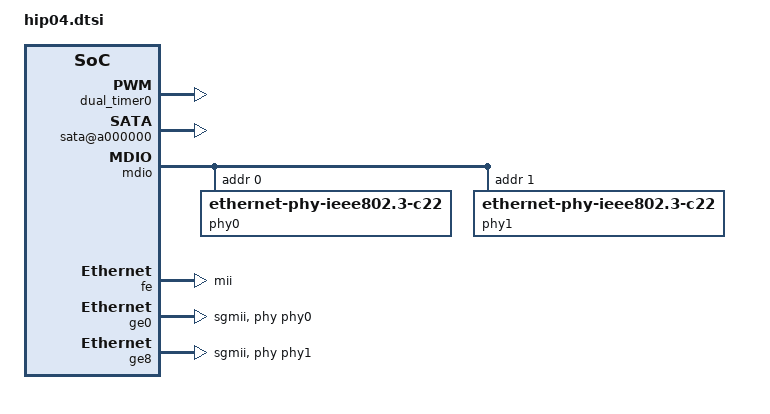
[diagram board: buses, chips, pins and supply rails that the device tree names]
/*
 * Hisilicon Ltd. HiP01 SoC
 *
 * Copyright (C) 2013-2014 Hisilicon Ltd.
 * Copyright (C) 2013-2014 Linaro Ltd.
 *
 * Author: Haojian Zhuang <haojian.zhuang@linaro.org>
 *
 * This program is free software; you can redistribute it and/or modify
 * it under the terms of the GNU General Public License version 2 as
 * publishhed by the Free Software Foundation.
 */

#include <dt-bindings/clock/hip04-clock.h>

/ {
	/* memory bus is 64-bit */
	#address-cells = <2>;
	#size-cells = <1>;

	aliases {
		serial0 = &uart0;
	};

	cpus {
		#address-cells = <1>;
		#size-cells = <0>;

		cpu-map {
			cluster0 {
				core0 {
					cpu = <&CPU0>;
				};
				core1 {
					cpu = <&CPU1>;
				};
				core2 {
					cpu = <&CPU2>;
				};
				core3 {
					cpu = <&CPU3>;
				};
			};
			cluster1 {
				core0 {
					cpu = <&CPU4>;
				};
				core1 {
					cpu = <&CPU5>;
				};
				core2 {
					cpu = <&CPU6>;
				};
				core3 {
					cpu = <&CPU7>;
				};
			};
			cluster2 {
				core0 {
					cpu = <&CPU8>;
				};
				core1 {
					cpu = <&CPU9>;
				};
				core2 {
					cpu = <&CPU10>;
				};
				core3 {
					cpu = <&CPU11>;
				};
			};
			cluster3 {
				core0 {
					cpu = <&CPU12>;
				};
				core1 {
					cpu = <&CPU13>;
				};
				core2 {
					cpu = <&CPU14>;
				};
				core3 {
					cpu = <&CPU15>;
				};
			};
		};
		CPU0: cpu@0 {
			device_type = "cpu";
			compatible = "arm,cortex-a15";
			reg = <0>;
		};
		CPU1: cpu@1 {
			device_type = "cpu";
			compatible = "arm,cortex-a15";
			reg = <1>;
		};
		CPU2: cpu@2 {
			device_type = "cpu";
			compatible = "arm,cortex-a15";
			reg = <2>;
		};
		CPU3: cpu@3 {
			device_type = "cpu";
			compatible = "arm,cortex-a15";
			reg = <3>;
		};
		CPU4: cpu@100 {
			device_type = "cpu";
			compatible = "arm,cortex-a15";
			reg = <0x100>;
			clock-frequency = <1350000000>;
		};
		CPU5: cpu@101 {
			device_type = "cpu";
			compatible = "arm,cortex-a15";
			reg = <0x101>;
			clock-frequency = <1350000000>;
		};
		CPU6: cpu@102 {
			device_type = "cpu";
			compatible = "arm,cortex-a15";
			reg = <0x102>;
			clock-frequency = <1350000000>;
		};
		CPU7: cpu@103 {
			device_type = "cpu";
			compatible = "arm,cortex-a15";
			reg = <0x103>;
			clock-frequency = <1350000000>;
		};
		CPU8: cpu@200 {
			device_type = "cpu";
			compatible = "arm,cortex-a15";
			reg = <0x200>;
			clock-frequency = <1350000000>;
		};
		CPU9: cpu@201 {
			device_type = "cpu";
			compatible = "arm,cortex-a15";
			reg = <0x201>;
			clock-frequency = <1350000000>;
		};
		CPU10: cpu@202 {
			device_type = "cpu";
			compatible = "arm,cortex-a15";
			reg = <0x202>;
			clock-frequency = <1350000000>;
		};
		CPU11: cpu@203 {
			device_type = "cpu";
			compatible = "arm,cortex-a15";
			reg = <0x203>;
			clock-frequency = <1350000000>;
		};
		CPU12: cpu@300 {
			device_type = "cpu";
			compatible = "arm,cortex-a15";
			reg = <0x300>;
			clock-frequency = <1350000000>;
		};
		CPU13: cpu@301 {
			device_type = "cpu";
			compatible = "arm,cortex-a15";
			reg = <0x301>;
			clock-frequency = <1350000000>;
		};
		CPU14: cpu@302 {
			device_type = "cpu";
			compatible = "arm,cortex-a15";
			reg = <0x302>;
			clock-frequency = <1350000000>;
		};
		CPU15: cpu@303 {
			device_type = "cpu";
			compatible = "arm,cortex-a15";
			reg = <0x303>;
			clock-frequency = <1350000000>;
		};
	};

	soc {
		/* It's a 32-bit SoC. */
		#address-cells = <1>;
		#size-cells = <1>;
		compatible = "arm,amba-bus", "simple-bus";
		device_type = "soc";
		interrupt-parent = <&gic>;
		ranges = <0 0 0xe0000000 0x10000000>;

		gic: interrupt-controller@c01000 {
			compatible = "hisilicon,hip04-gic";
			#interrupt-cells = <3>;
			#address-cells = <0>;
			interrupt-controller;

			/* gic dist base, gic cpu base */
			reg = <0xc01000 0x1000>, <0xc02000 0x1000>;
		};

		mcpm: mcpm {
			compatible = "hisilicon,hip04-mcpm";
			reg = <0x100 0x1000>, <0x3e00000 0x00100000>,
			      <0x302a000 0x1000>;
		};

		clock: clock {
			compatible = "hisilicon,hip04-clock";
			/* FIXME: the base of clock controller */
			reg = <0 0x1000>;
			#clock-cells = <1>;
		};

		dual_timer0: dual_timer@3000000 {
			compatible = "arm,sp804", "arm,primecell";
			reg = <0x3000000 0x1000>;
			interrupts = <0 224 4>;
			clocks = <&clock HIP04_CLK_50M>;
			clock-names = "apb_pclk";
			status = "ok";
		};

		arm-pmu {
			compatible = "arm,cortex-a15-pmu";
			interrupts = <0 64 4>,
				     <0 65 4>,
				     <0 66 4>,
				     <0 67 4>,
				     <0 68 4>,
				     <0 69 4>,
				     <0 70 4>,
				     <0 71 4>,
				     <0 72 4>,
				     <0 73 4>,
				     <0 74 4>,
				     <0 75 4>,
				     <0 76 4>,
				     <0 77 4>,
				     <0 78 4>,
				     <0 79 4>;
		};

		timer {
			compatible = "arm,armv7-timer";
			interrupts = <1 13 0xf08>,
				     <1 14 0xf08>,
				     <1 11 0xf08>,
				     <1 10 0xf08>;
		};

		uart0: uart@4007000 {
			compatible = "snps,dw-apb-uart";
			reg = <0x4007000 0x1000>;
			interrupts = <0 381 4>;
			clocks = <&clock HIP04_CLK_168M>;
			clock-names = "uartclk";
			reg-shift = <2>;
			status = "disabled";
		};

		sata@a000000 {
			compatible = "hisilicon,hisi-ahci";
			reg = <0xa000000 0x1000000>;
			interrupts = <0 372 4>;
		};

		mdio {
			compatible = "hisilicon,hip04-mdio";
			reg = <0x28f1000 0x1000>;
			#address-cells = <1>;
			#size-cells = <0>;

			phy0: ethernet-phy@0 {
				compatible = "ethernet-phy-ieee802.3-c22";
				reg = <0>;
				marvell,reg-init = <18 0x14 0 0x8001>;
			};

			phy1: ethernet-phy@1 {
				compatible = "ethernet-phy-ieee802.3-c22";
				reg = <1>;
				marvell,reg-init = <18 0x14 0 0x8001>;
			};
		};

		ppe: ppe@28c0000 {
			compatible = "hisilicon,hip04-ppe", "syscon";
			reg = <0x28c0000 0x10000>;
		};

		fe: ethernet@28b0000 {
			compatible = "hisilicon,hip04-mac";
			reg = <0x28b0000 0x10000>;
			interrupts = <0 413 4>;
			phy-mode = "mii";
			port-handle = <&ppe 31 0>;
		};

		ge0: ethernet@2800000 {
			compatible = "hisilicon,hip04-mac";
			reg = <0x2800000 0x10000>;
			interrupts = <0 402 4>;
			phy-mode = "sgmii";
			port-handle = <&ppe 0 1>;
			phy-handle = <&phy0>;
		};

		ge8: ethernet@2880000 {
			compatible = "hisilicon,hip04-mac";
			reg = <0x2880000 0x10000>;
			interrupts = <0 410 4>;
			phy-mode = "sgmii";
			port-handle = <&ppe 8 2>;
			phy-handle = <&phy1>;
		};
	};
};
